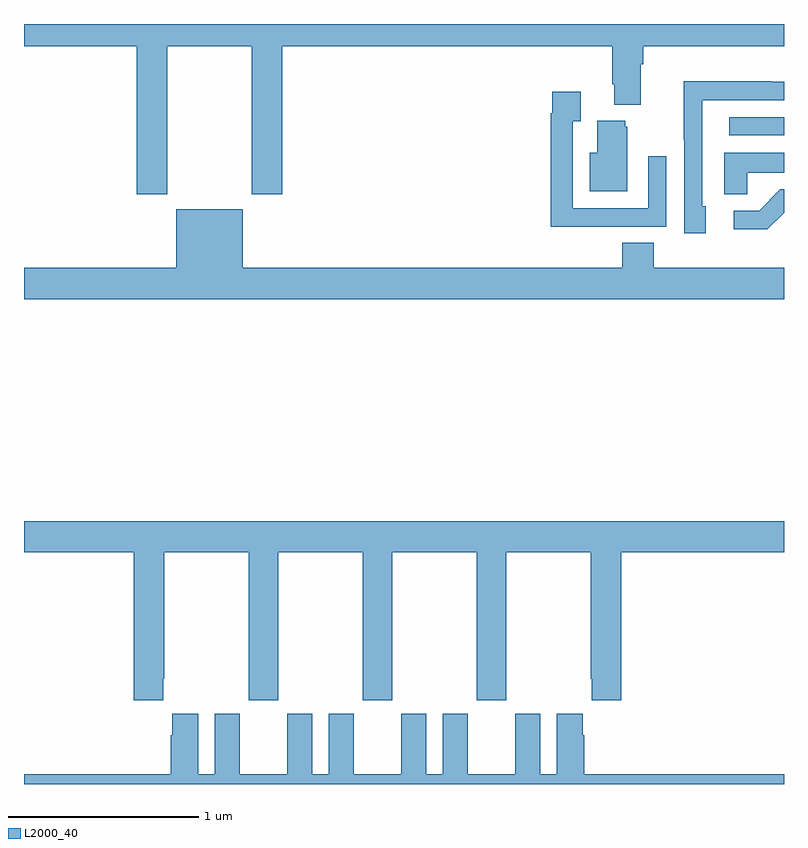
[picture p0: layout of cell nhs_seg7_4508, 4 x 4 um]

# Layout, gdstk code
import gdstk
lib = gdstk.Library(unit=1e-6, precision=1e-09)
def R(c, l, rs):  # rectangles x0, y0, x1, y1
    for r in rs: c.add(gdstk.rectangle(r[:2], r[2:], *l))
def P(c, l, *ps):  # polygons
    for p in ps: c.add(gdstk.Polygon(p, *l))
L2000_40 = (2000, 40)

nhs_seg7_4508 = lib.new_cell('nhs_seg7_4508')
R(nhs_seg7_4508, L2000_40, [(396.711,1065.414,397,1065.51)])
P(nhs_seg7_4508, L2000_40, [(393.753,1065.884),(394.198,1065.884),(394.198,1065.105),(394.358,1065.105),(394.358,1065.884),(396.095,1065.884),(396.095,1065.682),(396.107,1065.682),(396.107,1065.575),(396.247,1065.575),(396.247,1065.788),(396.26,1065.788),(396.26,1065.884),(397,1065.884),(397,1066),(393,1066),(393,1065.884),(393.593,1065.884),(393.593,1065.105),(393.753,1065.105)],
  [(396.589,1065.042),(396.57,1065.042),(396.57,1065.6),(397,1065.6),(397,1065.696),(396.935,1065.696),(396.935,1065.698),(396.472,1065.698),(396.472,1065.391),(396.474,1065.391),(396.474,1064.898),(396.589,1064.898)],
  [(396.065,1064.934),(396.381,1064.934),(396.381,1065.304),(396.285,1065.304),(396.285,1065.03),(395.889,1065.03),(395.889,1065.487),(395.929,1065.487),(395.929,1065.643),(395.781,1065.643),(395.781,1065.53),(395.773,1065.53),(395.773,1064.933),(396.065,1064.933)],
  [(396.175,1065.459),(396.164,1065.459),(396.164,1065.49),(396.017,1065.49),(396.017,1065.322),(395.978,1065.322),(395.978,1065.119),(396.175,1065.119)],
  [(396.807,1065.218),(397,1065.218),(397,1065.322),(396.686,1065.322),(396.686,1065.103),(396.807,1065.103)],
  [(397,1065.007),(397,1065.129),(396.98,1065.129),(396.869,1065.018),(396.735,1065.018),(396.735,1064.921),(396.913,1064.921)],
  [(397,1064.716),(396.314,1064.716),(396.314,1064.849),(396.149,1064.849),(396.149,1064.716),(394.15,1064.716),(394.15,1065.025),(393.8,1065.025),(393.8,1064.716),(393,1064.716),(393,1064.552),(397,1064.552)],
  [(393.733,1062.553),(393.738,1062.553),(393.738,1063.22),(394.183,1063.22),(394.183,1062.441),(394.338,1062.441),(394.338,1063.22),(394.783,1063.22),(394.783,1062.441),(394.938,1062.441),(394.938,1063.22),(395.383,1063.22),(395.383,1062.441),(395.538,1062.441),(395.538,1063.22),(395.983,1063.22),(395.983,1062.553),(395.987,1062.553),(395.987,1062.441),(396.143,1062.441),(396.143,1063.22),(397,1063.22),(397,1063.384),(393,1063.384),(393,1063.22),(393.578,1063.22),(393.578,1062.441),(393.733,1062.441)],
  [(397,1062.052),(395.948,1062.052),(395.948,1062.257),(395.941,1062.257),(395.941,1062.37),(395.804,1062.37),(395.804,1062.052),(395.716,1062.052),(395.716,1062.37),(395.585,1062.37),(395.585,1062.052),(395.335,1062.052),(395.335,1062.37),(395.204,1062.37),(395.204,1062.052),(395.116,1062.052),(395.116,1062.37),(394.985,1062.37),(394.985,1062.052),(394.735,1062.052),(394.735,1062.37),(394.604,1062.37),(394.604,1062.052),(394.516,1062.052),(394.516,1062.37),(394.385,1062.37),(394.385,1062.052),(394.135,1062.052),(394.135,1062.37),(394.004,1062.37),(394.004,1062.052),(393.916,1062.052),(393.916,1062.37),(393.779,1062.37),(393.779,1062.257),(393.773,1062.257),(393.773,1062.052),(393,1062.052),(393,1062),(397,1062)])

lib.write_gds('nhs_seg7_4508.gds')
